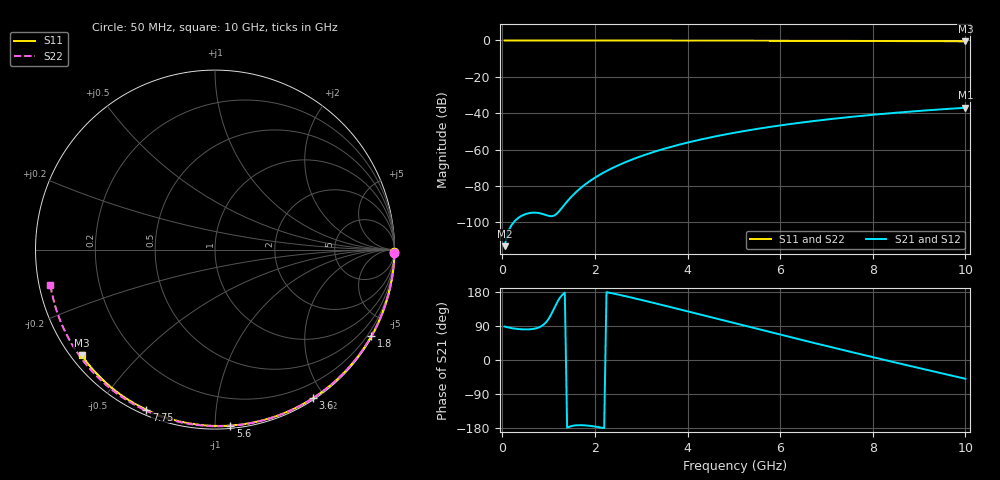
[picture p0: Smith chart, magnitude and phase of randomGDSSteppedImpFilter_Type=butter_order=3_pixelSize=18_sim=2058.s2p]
! freq	dB(S11)	phase(S11)	dB(S12)	phase(S12)
!  dB(S21)	phase(S21)	dB(S22)	phase(S22)
!S-par simulation data
#  GHz  S  DB  R 50
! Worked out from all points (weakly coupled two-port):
!   200 points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, 50 MHz to 10 GHz, reference 50 ohm
!   highest |S21| = -37.03 dB at 10 GHz (marker M1); lowest = -113.2 dB at 50 MHz (marker M2)
!   lowest |S11| = -0.5 dB at 10 GHz (marker M3), VSWR 37.26, Z = 1.5 - j17.4 ohm
!   |S11| at or under -10 dB: nowhere
!   |S22| runs from -0.6 to 0.0 dB; largest |S21 - S12| = 0
!   S11 on the Smith chart (normalised r, x): 50 MHz: open; 1.8 GHz: 0.03, -3.87; 3.6 GHz: 0.02, -1.86; 5.6 GHz: 0.02, -1.09; 7.75 GHz: 0.02, -0.66; 10 GHz: 0.03, -0.35
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0.05  -0.00 -0.8  -113.15 88.3  -113.15 88.3  -0.00 -1.0
0.45  -0.01 -7.4  -96.04 80.9  -96.04 80.9  -0.01 -8.7
0.85  -0.02 -13.8  -95.28 89.8  -95.28 89.8  -0.02 -16.4
1.3  -0.03 -21.1  -91.68 172.5  -91.68 172.5  -0.03 -24.9
1.75  -0.04 -28.2  -79.96 -172.2  -79.96 -172.2  -0.04 -33.4
1.8  -0.04 -29.0  -78.98 -172.6  -78.98 -172.6  -0.04 -34.3
1.95  -0.04 -31.3  -76.31 -174.7  -76.31 -174.7  -0.05 -37.1
2.1  -0.04 -33.7  -73.94 -177.5  -73.94 -177.5  -0.05 -39.9
2.3  -0.05 -36.8  -71.16 177.9  -71.16 177.9  -0.06 -43.5
2.5  -0.05 -39.9  -68.72 172.7  -68.72 172.7  -0.06 -47.2
2.9  -0.06 -46.1  -64.55 161.5  -64.55 161.5  -0.07 -54.4
3.4  -0.07 -53.6  -60.30 146.7  -60.30 146.7  -0.08 -63.2
3.6  -0.08 -56.6  -58.83 140.6  -58.83 140.6  -0.09 -66.7
4.3  -0.09 -66.8  -54.40 119.2  -54.40 119.2  -0.11 -78.6
5.05  -0.12 -77.5  -50.59 96.1  -50.59 96.1  -0.14 -91.0
5.6  -0.14 -85.0  -48.25 79.2  -48.25 79.2  -0.17 -99.8
6.15  -0.16 -92.5  -46.20 62.5  -46.20 62.5  -0.19 -108.5
6.7  -0.19 -99.7  -44.39 45.9  -44.39 45.9  -0.23 -117.0
7.75  -0.26 -113.3  -41.49 14.8  -41.49 14.8  -0.31 -133.0
8.35  -0.31 -120.8  -40.09 -2.6  -40.09 -2.6  -0.36 -142.1
9.2  -0.38 -131.5  -38.38 -27.0  -38.38 -27.0  -0.46 -155.2
10  -0.47 -141.6  -37.03 -49.5  -37.03 -49.5  -0.56 -167.8
